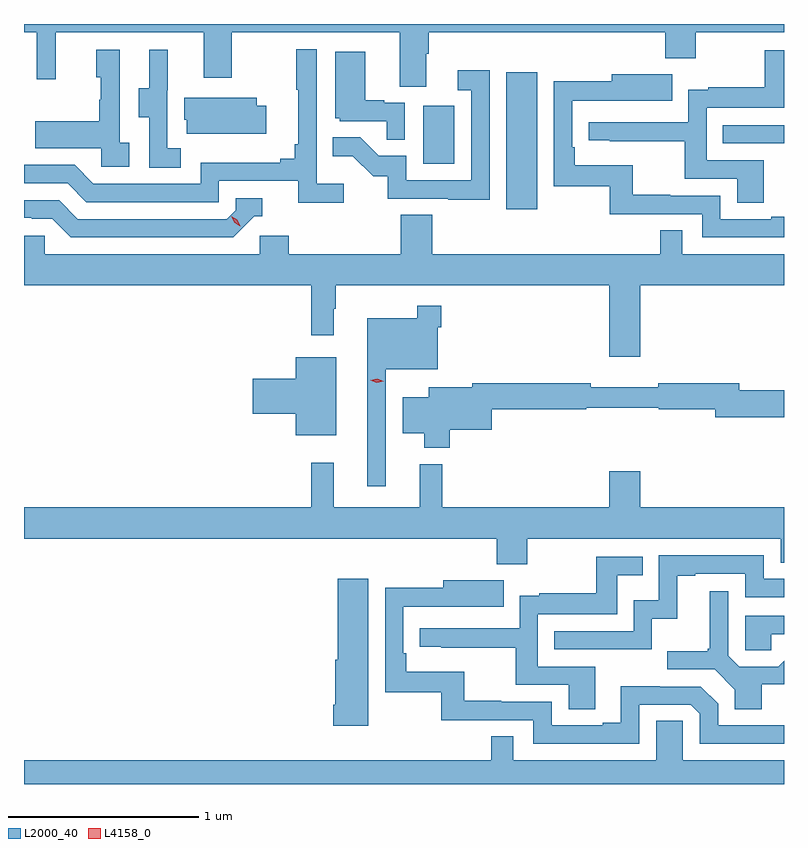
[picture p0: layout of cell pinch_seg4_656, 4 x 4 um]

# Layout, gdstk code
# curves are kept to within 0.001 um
import gdstk
lib = gdstk.Library(unit=1e-6, precision=1e-09)
def R(c, l, rs):  # rectangles x0, y0, x1, y1
    for r in rs: c.add(gdstk.rectangle(r[:2], r[2:], *l))
def P(c, l, *ps):  # polygons
    for p in ps: c.add(gdstk.Polygon(p, *l))
L2000_40 = (2000, 40)
L4158_0 = (4158, 0)

pinch_seg4_656 = lib.new_cell('pinch_seg4_656')
R(pinch_seg4_656, L2000_40, [(1135.496,767.916,1135.657,768.637), (1135.058,768.156,1135.222,768.463), (1136.635,768.264,1136.957,768.36)])
P(pinch_seg4_656, L2000_40, [(1135.075,768.736),(1135.088,768.736),(1135.088,768.848),(1136.333,768.848),(1136.333,768.713),(1136.493,768.713),(1136.493,768.848),(1136.957,768.848),(1136.957,768.892),(1132.957,768.892),(1132.957,768.848),(1133.025,768.848),(1133.025,768.6),(1133.123,768.6),(1133.123,768.848),(1133.903,768.848),(1133.903,768.609),(1134.051,768.609),(1134.051,768.848),(1134.935,768.848),(1134.935,768.562),(1135.075,768.562)],
  [(1134.64,768.052),(1134.498,768.052),(1134.498,768.76),(1134.39,768.76),(1134.39,768.547),(1134.401,768.547),(1134.401,768.259),(1134.382,768.259),(1134.382,768.182),(1134.305,768.182),(1134.305,768.163),(1133.886,768.163),(1133.886,768.051),(1133.322,768.051),(1133.223,768.15),(1132.957,768.15),(1132.957,768.054),(1133.186,768.054),(1133.285,767.955),(1133.982,767.955),(1133.982,768.066),(1134.401,768.066),(1134.401,767.95),(1134.64,767.95)],
  [(1133.512,768.266),(1133.46,768.266),(1133.46,768.757),(1133.336,768.757),(1133.336,768.612),(1133.362,768.612),(1133.362,768.494),(1133.352,768.494),(1133.352,768.379),(1133.017,768.379),(1133.017,768.239),(1133.364,768.239),(1133.364,768.141),(1133.512,768.141)],
  [(1133.782,768.237),(1133.712,768.237),(1133.712,768.543),(1133.714,768.543),(1133.714,768.757),(1133.615,768.757),(1133.615,768.555),(1133.561,768.555),(1133.561,768.4),(1133.616,768.4),(1133.616,768.136),(1133.782,768.136)],
  [(1136.851,768.174),(1136.55,768.174),(1136.55,768.45),(1136.957,768.45),(1136.957,768.753),(1136.856,768.753),(1136.856,768.559),(1136.557,768.559),(1136.557,768.547),(1136.454,768.547),(1136.454,768.375),(1135.929,768.375),(1135.929,768.279),(1136.041,768.279),(1136.041,768.274),(1136.434,768.274),(1136.434,768.078),(1136.711,768.078),(1136.711,767.95),(1136.851,767.95)],
  [(1134.96,768.477),(1134.854,768.477),(1134.854,768.49),(1134.754,768.49),(1134.754,768.745),(1134.596,768.745),(1134.596,768.396),(1134.618,768.396),(1134.618,768.381),(1134.865,768.381),(1134.865,768.283),(1134.96,768.283)],
  [(1135.407,768.649),(1135.239,768.649),(1135.239,768.543),(1135.311,768.543),(1135.311,768.069),(1134.969,768.069),(1134.969,768.198),(1134.825,768.198),(1134.727,768.296),(1134.583,768.296),(1134.583,768.197),(1134.687,768.197),(1134.794,768.09),(1134.871,768.09),(1134.871,767.973),(1135.189,767.973),(1135.189,767.968),(1135.407,767.968)],
  [(1136.957,767.878),(1136.891,767.878),(1136.891,767.865),(1136.622,767.865),(1136.622,767.988),(1136.357,767.988),(1136.357,767.993),(1136.161,767.993),(1136.161,768.148),(1135.856,768.148),(1135.856,768.244),(1135.842,768.244),(1135.842,768.489),(1136.155,768.489),(1136.155,768.488),(1136.369,768.488),(1136.369,768.628),(1136.051,768.628),(1136.051,768.59),(1135.746,768.59),(1135.746,768.039),(1136.04,768.039),(1136.04,767.892),(1136.526,767.892),(1136.526,767.769),(1136.957,767.769)],
  [(1134.232,768.462),(1134.181,768.462),(1134.181,768.505),(1133.801,768.505),(1133.801,768.387),(1133.813,768.387),(1133.813,768.315),(1133.917,768.315),(1133.917,768.314),(1134.232,768.314)],
  [(1134.168,767.88),(1134.211,767.88),(1134.211,767.976),(1134.072,767.976),(1134.072,767.913),(1134.024,767.865),(1133.241,767.865),(1133.142,767.964),(1132.957,767.964),(1132.957,767.871),(1132.998,767.871),(1132.998,767.868),(1133.105,767.868),(1133.204,767.769),(1134.057,767.769)],
  [(1136.2,767.516),(1136.957,767.516),(1136.957,767.68),(1136.421,767.68),(1136.421,767.807),(1136.305,767.807),(1136.305,767.68),(1135.106,767.68),(1135.106,767.888),(1134.941,767.888),(1134.941,767.68),(1134.35,767.68),(1134.35,767.778),(1134.198,767.778),(1134.198,767.68),(1133.067,767.68),(1133.067,767.778),(1132.957,767.778),(1132.957,767.516),(1134.469,767.516),(1134.469,767.253),(1134.586,767.253),(1134.586,767.393),(1134.598,767.393),(1134.598,767.516),(1136.036,767.516),(1136.036,767.142),(1136.2,767.142)],
  [(1134.861,767.075),(1135.134,767.075),(1135.134,767.297),(1135.154,767.297),(1135.154,767.41),(1135.026,767.41),(1135.026,767.344),(1134.764,767.344),(1134.764,766.458),(1134.861,766.458)],
  [(1134.601,767.137),(1134.386,767.137),(1134.386,767.024),(1134.162,767.024),(1134.162,766.841),(1134.386,766.841),(1134.386,766.727),(1134.601,766.727)],
  [(1135.199,766.757),(1135.42,766.757),(1135.42,766.864),(1135.916,766.864),(1135.916,766.872),(1136.298,766.872),(1136.298,766.864),(1136.594,766.864),(1136.594,766.822),(1136.957,766.822),(1136.957,766.964),(1136.722,766.964),(1136.722,767),(1136.296,767),(1136.296,766.981),(1135.94,766.981),(1135.94,767),(1135.316,767),(1135.316,766.981),(1135.088,766.981),(1135.088,766.927),(1134.95,766.927),(1134.95,766.739),(1135.064,766.739),(1135.064,766.661),(1135.199,766.661)],
  [(1135.605,766.184),(1136.94,766.184),(1136.94,766.057),(1136.957,766.057),(1136.957,766.348),(1136.2,766.348),(1136.2,766.537),(1136.036,766.537),(1136.036,766.348),(1135.157,766.348),(1135.157,766.576),(1135.04,766.576),(1135.04,766.348),(1134.587,766.348),(1134.587,766.582),(1134.469,766.582),(1134.469,766.348),(1132.957,766.348),(1132.957,766.184),(1135.445,766.184),(1135.445,766.049),(1135.605,766.049)],
  [(1136.262,765.761),(1136.395,765.761),(1136.395,765.987),(1136.491,765.987),(1136.491,765.999),(1136.754,765.999),(1136.754,765.876),(1136.957,765.876),(1136.957,765.972),(1136.85,765.972),(1136.85,766.095),(1136.298,766.095),(1136.298,765.859),(1136.166,765.859),(1136.166,765.696),(1135.747,765.696),(1135.747,765.6),(1136.262,765.6)],
  [(1135.963,765.51),(1135.662,765.51),(1135.662,765.786),(1136.079,765.786),(1136.079,765.992),(1136.213,765.992),(1136.213,766.089),(1135.968,766.089),(1135.968,765.895),(1135.669,765.895),(1135.669,765.883),(1135.566,765.883),(1135.566,765.711),(1135.041,765.711),(1135.041,765.615),(1135.153,765.615),(1135.153,765.61),(1135.546,765.61),(1135.546,765.414),(1135.823,765.414),(1135.823,765.286),(1135.963,765.286)],
  [(1134.769,765.973),(1134.608,765.973),(1134.608,765.546),(1134.596,765.546),(1134.596,765.31),(1134.584,765.31),(1134.584,765.198),(1134.769,765.198)],
  [(1136.196,765.309),(1136.466,765.309),(1136.514,765.261),(1136.514,765.105),(1136.957,765.105),(1136.957,765.201),(1136.61,765.201),(1136.61,765.315),(1136.52,765.405),(1136.304,765.405),(1136.304,765.407),(1136.099,765.407),(1136.099,765.214),(1136.003,765.214),(1136.003,765.201),(1135.734,765.201),(1135.734,765.324),(1135.469,765.324),(1135.469,765.329),(1135.273,765.329),(1135.273,765.484),(1134.968,765.484),(1134.968,765.58),(1134.954,765.58),(1134.954,765.825),(1135.481,765.824),(1135.481,765.964),(1135.163,765.964),(1135.163,765.926),(1134.858,765.926),(1134.858,765.375),(1135.152,765.375),(1135.152,765.228),(1135.638,765.228),(1135.638,765.105),(1136.196,765.105)],
  [(1136.839,765.418),(1136.957,765.418),(1136.957,765.54),(1136.927,765.51),(1136.721,765.51),(1136.664,765.567),(1136.664,765.907),(1136.567,765.907),(1136.567,765.604),(1136.556,765.604),(1136.556,765.592),(1136.343,765.592),(1136.343,765.495),(1136.592,765.495),(1136.699,765.388),(1136.699,765.286),(1136.839,765.286)],
  [(1136.891,765.681),(1136.957,765.681),(1136.957,765.777),(1136.754,765.777),(1136.754,765.597),(1136.891,765.597)],
  [(1136.957,765.016),(1136.424,765.016),(1136.424,765.224),(1136.285,765.224),(1136.285,765.016),(1135.533,765.016),(1135.533,765.143),(1135.417,765.143),(1135.417,765.016),(1132.957,765.016),(1132.957,764.892),(1136.957,764.892)])
P(pinch_seg4_656, L4158_0, [(1134.814,767.004),(1134.78,767.016),(1134.779,767.017),(1134.78,767.017),(1134.816,767.024),(1134.851,767.012),(1134.851,767.012),(1134.851,767.012)],
  [(1134.096,767.828),(1134.065,767.847),(1134.049,767.88),(1134.049,767.88),(1134.049,767.88),(1134.08,767.861),(1134.096,767.828),(1134.096,767.828)])

lib.write_gds('pinch_seg4_656.gds')
